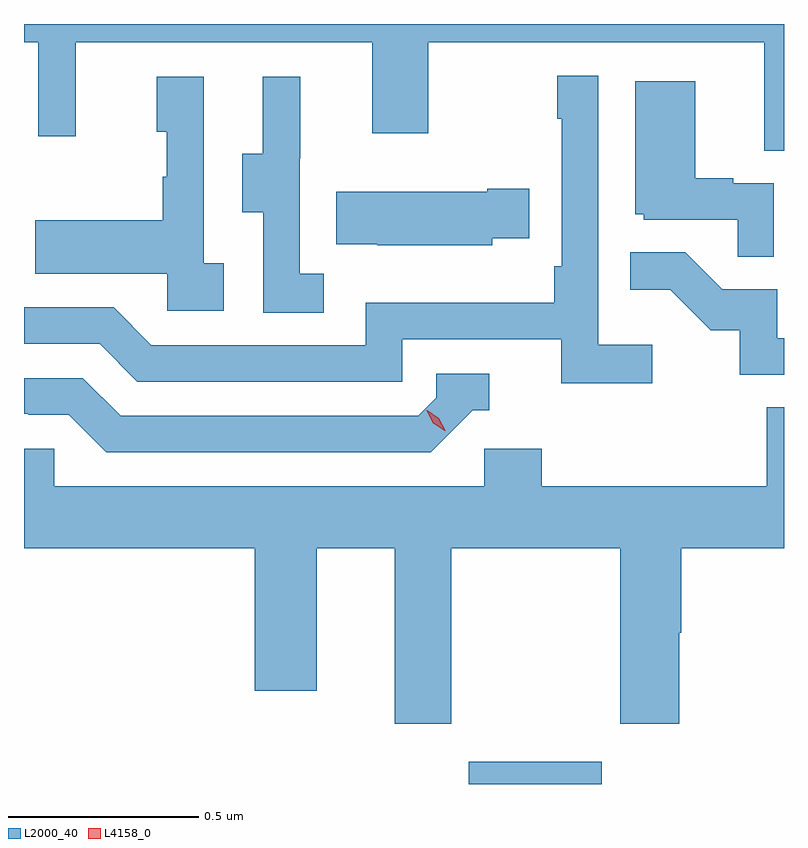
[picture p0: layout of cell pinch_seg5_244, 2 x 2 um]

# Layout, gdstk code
import gdstk
lib = gdstk.Library(unit=1e-6, precision=1e-09)
def R(c, l, rs):  # rectangles x0, y0, x1, y1
    for r in rs: c.add(gdstk.rectangle(r[:2], r[2:], *l))
def P(c, l, *ps):  # polygons
    for p in ps: c.add(gdstk.Polygon(p, *l))
L2000_40 = (2000, 40)
L4158_0 = (4158, 0)

pinch_seg5_244 = lib.new_cell('pinch_seg5_244')
R(pinch_seg5_244, L2000_40, [(968.768,913.416,969.118,913.474)])
P(pinch_seg5_244, L2000_40, [(969.597,915.416),(967.597,915.416),(967.597,915.368),(967.635,915.368),(967.635,915.12),(967.733,915.12),(967.733,915.368),(968.513,915.368),(968.513,915.129),(968.661,915.129),(968.661,915.368),(969.545,915.368),(969.545,915.082),(969.597,915.082)],
  [(969.25,914.572),(969.108,914.572),(969.108,915.28),(969,915.28),(969,915.167),(969.012,915.167),(969.012,914.779),(968.992,914.779),(968.992,914.683),(968.496,914.683),(968.496,914.571),(967.932,914.571),(967.833,914.67),(967.597,914.67),(967.597,914.574),(967.796,914.574),(967.895,914.475),(968.592,914.475),(968.592,914.586),(969.011,914.586),(969.011,914.47),(969.25,914.47)],
  [(968.122,914.786),(968.07,914.786),(968.07,915.277),(967.946,915.277),(967.946,915.132),(967.972,915.132),(967.972,915.014),(967.962,915.014),(967.962,914.899),(967.627,914.899),(967.627,914.759),(967.974,914.759),(967.974,914.661),(968.122,914.661)],
  [(968.386,914.759),(968.322,914.759),(968.322,915.063),(968.324,915.063),(968.324,915.277),(968.225,915.277),(968.225,915.075),(968.171,915.075),(968.171,914.92),(968.226,914.92),(968.226,914.656),(968.386,914.656)],
  [(969.57,914.997),(969.464,914.997),(969.464,915.01),(969.364,915.01),(969.364,915.265),(969.206,915.265),(969.206,914.916),(969.228,914.916),(969.228,914.901),(969.475,914.901),(969.475,914.803),(969.57,914.803)],
  [(968.829,914.852),(968.927,914.852),(968.927,914.982),(968.816,914.982),(968.816,914.974),(968.419,914.974),(968.419,914.837),(968.527,914.837),(968.527,914.834),(968.829,914.834)],
  [(969.597,914.589),(969.579,914.589),(969.579,914.718),(969.435,914.718),(969.337,914.816),(969.193,914.816),(969.193,914.717),(969.297,914.717),(969.404,914.61),(969.481,914.61),(969.481,914.493),(969.597,914.493)],
  [(968.778,914.4),(968.821,914.4),(968.821,914.496),(968.682,914.496),(968.682,914.433),(968.634,914.385),(967.851,914.385),(967.752,914.484),(967.597,914.484),(967.597,914.391),(967.608,914.391),(967.608,914.388),(967.715,914.388),(967.814,914.289),(968.667,914.289)],
  [(968.721,914.036),(969.166,914.036),(969.166,913.575),(969.321,913.575),(969.321,913.814),(969.326,913.814),(969.326,914.036),(969.597,914.036),(969.597,914.408),(969.551,914.408),(969.551,914.2),(968.96,914.2),(968.96,914.298),(968.808,914.298),(968.808,914.2),(967.677,914.2),(967.677,914.298),(967.597,914.298),(967.597,914.036),(968.204,914.036),(968.204,913.662),(968.368,913.662),(968.368,914.036),(968.573,914.036),(968.573,913.575),(968.721,913.575)])
P(pinch_seg5_244, L4158_0, [(968.704,914.346),(968.674,914.366),(968.657,914.398),(968.657,914.399),(968.658,914.399),(968.688,914.379),(968.705,914.347),(968.705,914.346)])

lib.write_gds('pinch_seg5_244.gds')
